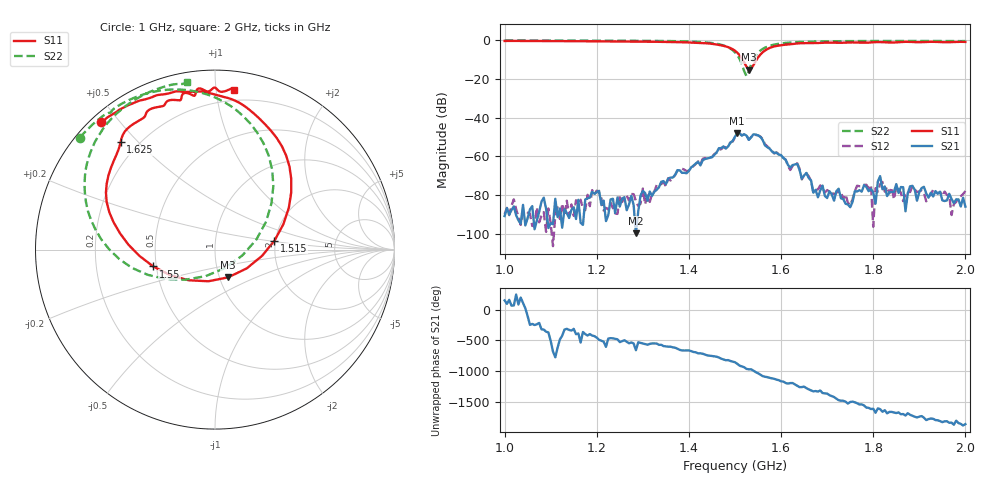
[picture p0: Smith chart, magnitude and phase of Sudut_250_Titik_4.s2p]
# Hz S RI R 50
! CMT, C1220, 16058040, 17.2.0/1
! Date: 14/08/2018 12:32:29
! Data: Format (Calibration Info)
! Freq  S11: Re/Im (F2)  S21: Re/Im (F2)  S12: Re/Im (F2)  S22: Re/Im (F2)
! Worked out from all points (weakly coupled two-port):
!   201 points, 1 GHz to 2 GHz, reference 50 ohm
!   highest |S21| = -48.01 dB at 1.505 GHz (marker M1); lowest = -99.7 dB at 1.285 GHz (marker M2)
!   lowest |S11| = -15.3 dB at 1.53 GHz (marker M3), VSWR 1.41, Z = 55.1 - j17.5 ohm
!   |S11| at or under -10 dB: 1.516 GHz to 1.547 GHz (30.91 MHz wide, 2.02 % of centre)
!   |S22| runs from -18.6 to -0.2 dB; largest |S21 - S12| = 0.00031
!   S11 on the Smith chart (normalised r, x): 1 GHz: 0.03, +0.45; 1.515 GHz: 1.98, +0.22; 1.55 GHz: 0.48, -0.10; 1.625 GHz: 0.14, +0.44; 2 GHz: 0.12, +1.12
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1e9  -0.6331 0.7084  -2.47e-05 1.45e-05  -3.12e-05 -7.9e-06  -0.7533 0.6237
1.17e9  -0.4562 0.8156  1.69e-05 -1.22e-06  4.24e-05 -1.36e-05  -0.6173 0.7491
1.285e9  -0.2821 0.8654  5.14e-06 8.92e-06  -6.82e-05 -1.4e-05  -0.4881 0.8292
1.335e9  -0.1916 0.8806  -0.000133 8.69e-05  -0.000151 8.94e-05  -0.4019 0.8634
1.45e9  0.1972 0.7745  0.000788 -0.00053  0.000776 -0.000554  0.0194 0.8388
1.5e9  0.4246 0.3186  -0.00232 -0.00225  -0.00223 -0.00215  0.3251 0.3543
1.505e9  0.4114 0.2326  -0.00376 -0.00129  -0.00364 -0.00133  0.3146 0.258
1.515e9  0.3315 0.0501  -0.00315 0.00137  -0.00319 0.00135  0.2306 0.0563
1.53e9  0.074 -0.1544  -0.00092 0.00251  -0.000854 0.00253  -0.0514 -0.1477
1.55e9  -0.3436 -0.0941  0.00243 0.00249  0.00236 0.00255  -0.4617 -0.1023
1.625e9  -0.5264 0.5977  -0.000239 -0.000544  -0.000245 -0.000505  -0.701 0.5213
1.635e9  -0.5141 0.638  -0.0006 -0.000226  -0.000592 -0.000297  -0.6853 0.5637
1.645e9  -0.4885 0.6734  -0.000267 -2.92e-06  -0.000251 3.09e-05  -0.6689 0.6001
1.655e9  -0.452 0.7017  -0.000356 0.000109  -0.000354 8.47e-05  -0.6511 0.6308
1.67e9  -0.4032 0.7307  -4.11e-05 0.000108  -3.88e-05 0.000107  -0.6251 0.6709
1.755e9  -0.2568 0.8313  3.78e-05 -5.41e-05  8.41e-06 -7.64e-05  -0.4904 0.8051
1.78e9  -0.1954 0.8317  -8.14e-05 -0.00016  -0.000121 -0.000139  -0.4549 0.8297
1.805e9  -0.1797 0.8667  -3.32e-05 5.01e-05  -0.00015 -9.23e-06  -0.4194 0.8508
1.815e9  -0.1637 0.8731  -0.000308 -1.29e-05  -0.00019 2.3e-05  -0.4057 0.8581
1.82e9  -0.1525 0.8715  -0.000109 8.93e-05  -0.000173 0.000132  -0.3988 0.8611
1.835e9  -0.1205 0.8582  -8.68e-05 8.11e-05  -0.000105 3.47e-05  -0.3788 0.8715
2e9  0.1064 0.8917  2.46e-05 -4.38e-05  -2.23e-05 -0.000125  -0.1555 0.9315
